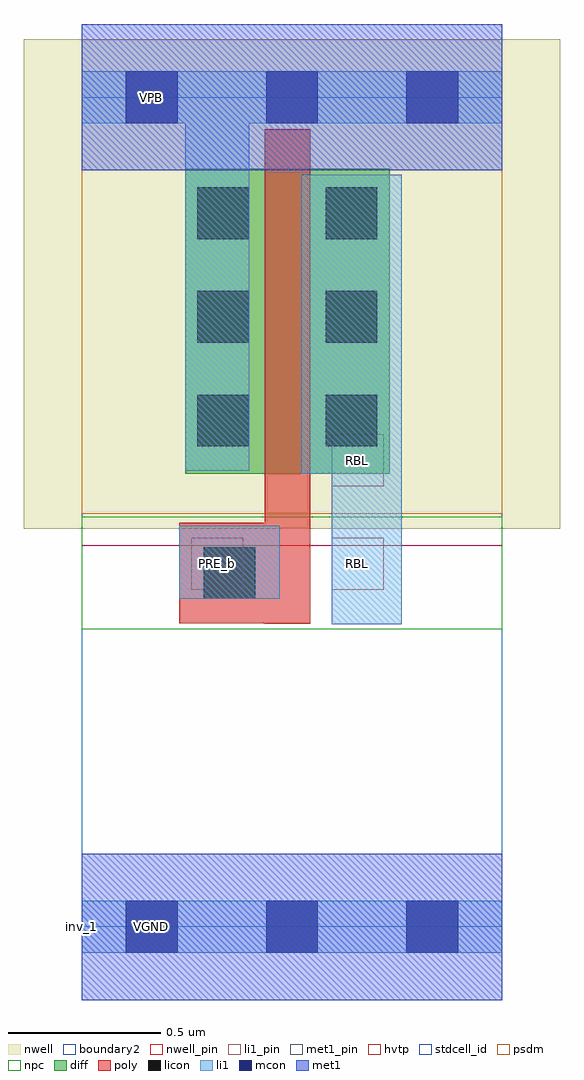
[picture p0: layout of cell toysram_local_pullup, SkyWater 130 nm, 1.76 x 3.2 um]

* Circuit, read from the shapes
.subckt toysram_local_pullup PRE_b RBL VGND VPB VPWR
XM1 RBL PRE_b VPWR VPB sky130_fd_pr__pfet_01v8_hvt w=1 l=0.15
.ends

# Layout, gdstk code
import gdstk
lib = gdstk.Library(unit=1e-6, precision=1e-09)
def R(c, l, rs):  # rectangles x0, y0, x1, y1
    for r in rs: c.add(gdstk.rectangle(r[:2], r[2:], *l))
def A(c, l, x, y, w, h, nx, ny, dx, dy):  # array of equal rectangles
    R(c, l, [(x+i*dx, y+j*dy, x+i*dx+w, y+j*dy+h) for i in range(nx) for j in range(ny)])
def P(c, l, *ps):  # polygons
    for p in ps: c.add(gdstk.Polygon(p, *l))
nwell_pin = (64, 16)
nwell = (64, 20)
diff = (65, 20)
poly = (66, 20)
licon = (66, 44)
li1_pin = (67, 16)
li1 = (67, 20)
mcon = (67, 44)
met1_pin = (68, 16)
met1 = (68, 20)
hvtp = (78, 44)
stdcell_id = (81, 4)
psdm = (94, 20)
npc = (95, 20)
boundary2 = (236, 0)

toysram_local_pullup = lib.new_cell('toysram_local_pullup')
R(toysram_local_pullup, nwell_pin, [(0.145,2.635,0.315,2.805), (0.145,2.635,0.315,2.805)])
R(toysram_local_pullup, nwell, [(-0.19,1.305,1.57,2.91)])
R(toysram_local_pullup, diff, [(0.34,1.485,1.01,2.485)])
P(toysram_local_pullup, poly, [(0.6,0.994),(0.6,0.995),(0.32,0.995),(0.32,1.325),(0.6,1.325),(0.6,2.615),(0.75,2.615),(0.75,0.994)])
A(toysram_local_pullup, licon, 0.38, 1.575, 0.17, 0.17, 1, 3, 0, 0.34)
A(toysram_local_pullup, licon, 0.8, 1.575, 0.17, 0.17, 1, 3, 0, 0.34)
R(toysram_local_pullup, licon, [(0.4,1.075,0.57,1.245)])
R(toysram_local_pullup, li1_pin, [(0.36,1.105,0.53,1.275), (0.82,1.105,0.99,1.275), (0.82,1.445,0.99,1.615)])
R(toysram_local_pullup, li1, [(0,-0.085,1.38,0.085), (0.32,1.075,0.65,1.315), (0.34,1.495,0.55,2.675), (0,2.635,1.38,2.805)])
P(toysram_local_pullup, li1, [(0.82,0.992),(0.82,1.485),(0.72,1.485),(0.72,2.465),(1.05,2.465),(1.05,0.992)])
A(toysram_local_pullup, mcon, 0.145, -0.085, 0.17, 0.17, 3, 2, 0.46, 2.72)
R(toysram_local_pullup, met1_pin, [(0.145,-0.085,0.315,0.085), (0.145,-0.085,0.315,0.085), (0.145,2.635,0.315,2.805), (0.145,2.635,0.315,2.805)])
R(toysram_local_pullup, hvtp, [(0,1.25,1.38,2.72)])
R(toysram_local_pullup, stdcell_id, [(0,0,1.38,2.72)])
R(toysram_local_pullup, psdm, [(0,1.355,1.38,2.91)])
R(toysram_local_pullup, npc, [(0,0.975,1.38,1.345)])
R(toysram_local_pullup, boundary2, [(0,0,1.38,2.72)])
toysram_local_pullup.add(gdstk.FlexPath([(0,2.72),(1.38,2.72)], 0.48, ends="flush", simple_path=True, layer=68, datatype=20))  # met1
toysram_local_pullup.add(gdstk.FlexPath([(0,0),(1.38,0)], 0.48, ends="flush", simple_path=True, layer=68, datatype=20))  # met1
toysram_local_pullup.add(gdstk.Label('RBL', (0.905,1.53), layer=67, texttype=5))
toysram_local_pullup.add(gdstk.Label('RBL', (0.905,1.19), layer=67, texttype=5))
toysram_local_pullup.add(gdstk.Label('PRE_b', (0.445,1.19), layer=67, texttype=5))
toysram_local_pullup.add(gdstk.Label('VPB', (0.23,2.72), layer=64, texttype=5))
toysram_local_pullup.add(gdstk.Label('VGND', (0.23,0), layer=68, texttype=5))
toysram_local_pullup.add(gdstk.Label('VPWR', (0.23,2.72), layer=68, texttype=5))
toysram_local_pullup.add(gdstk.Label('inv_1', (0,0), layer=83, texttype=44))

lib.write_gds('toysram_local_pullup.gds')
